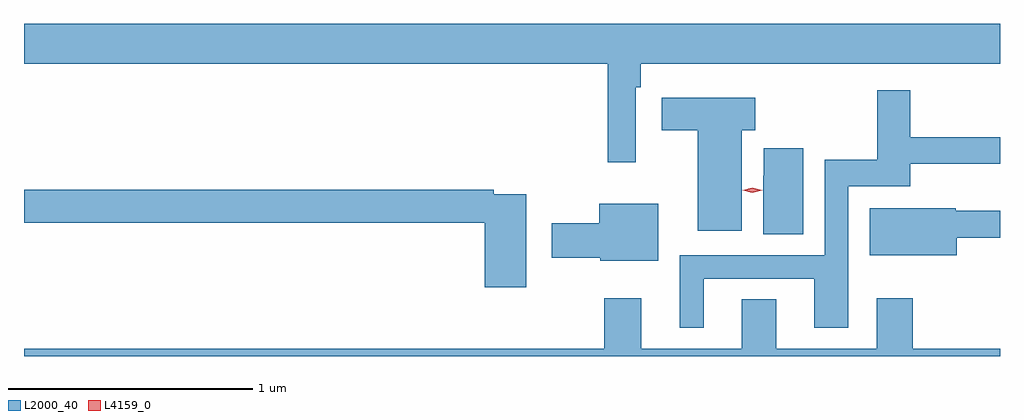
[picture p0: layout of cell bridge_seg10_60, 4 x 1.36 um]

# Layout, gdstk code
import gdstk
lib = gdstk.Library(unit=1e-6, precision=1e-09)
def P(c, l, *ps):  # polygons
    for p in ps: c.add(gdstk.Polygon(p, *l))
L2000_40 = (2000, 40)
L4159_0 = (4159, 0)

bridge_seg10_60 = lib.new_cell('bridge_seg10_60')
P(bridge_seg10_60, L2000_40, [(832.173,1249.604),(832.193,1249.604),(832.193,1249.7),(833.665,1249.7),(833.665,1249.864),(829.665,1249.864),(829.665,1249.7),(832.057,1249.7),(832.057,1249.296),(832.173,1249.296)],
  [(832.45,1248.819),(832.904,1248.819),(832.904,1248.618),(833.043,1248.618),(833.043,1249.197),(833.297,1249.197),(833.297,1249.289),(833.665,1249.289),(833.665,1249.399),(833.297,1249.399),(833.297,1249.591),(833.161,1249.591),(833.161,1249.306),(832.947,1249.306),(832.947,1248.915),(832.352,1248.915),(832.352,1248.618),(832.45,1248.618)],
  [(832.606,1249.427),(832.662,1249.427),(832.662,1249.561),(832.278,1249.561),(832.278,1249.426),(832.427,1249.426),(832.427,1249.016),(832.606,1249.016)],
  [(832.858,1249.354),(832.696,1249.354),(832.696,1249.241),(832.694,1249.241),(832.694,1249),(832.858,1249)],
  [(831.724,1249.164),(831.59,1249.164),(831.59,1249.184),(829.665,1249.184),(829.665,1249.048),(831.554,1249.048),(831.554,1248.783),(831.724,1248.783)],
  [(832.264,1249.126),(832.022,1249.126),(832.022,1249.046),(831.828,1249.046),(831.828,1248.904),(832.026,1248.904),(832.026,1248.893),(832.264,1248.893)],
  [(833.488,1248.987),(833.665,1248.987),(833.665,1249.097),(833.484,1249.097),(833.484,1249.108),(833.132,1249.108),(833.132,1248.914),(833.488,1248.914)],
  [(833.665,1248.532),(833.307,1248.532),(833.307,1248.739),(833.159,1248.739),(833.159,1248.532),(832.747,1248.532),(832.747,1248.734),(832.607,1248.734),(832.607,1248.532),(832.195,1248.532),(832.195,1248.739),(832.043,1248.739),(832.043,1248.532),(829.665,1248.532),(829.665,1248.5),(833.665,1248.5)])
P(bridge_seg10_60, L4159_0, [(832.65,1249.171),(832.61,1249.181),(832.61,1249.181),(832.61,1249.181),(832.65,1249.191),(832.69,1249.181),(832.69,1249.181),(832.69,1249.181)])

lib.write_gds('bridge_seg10_60.gds')
